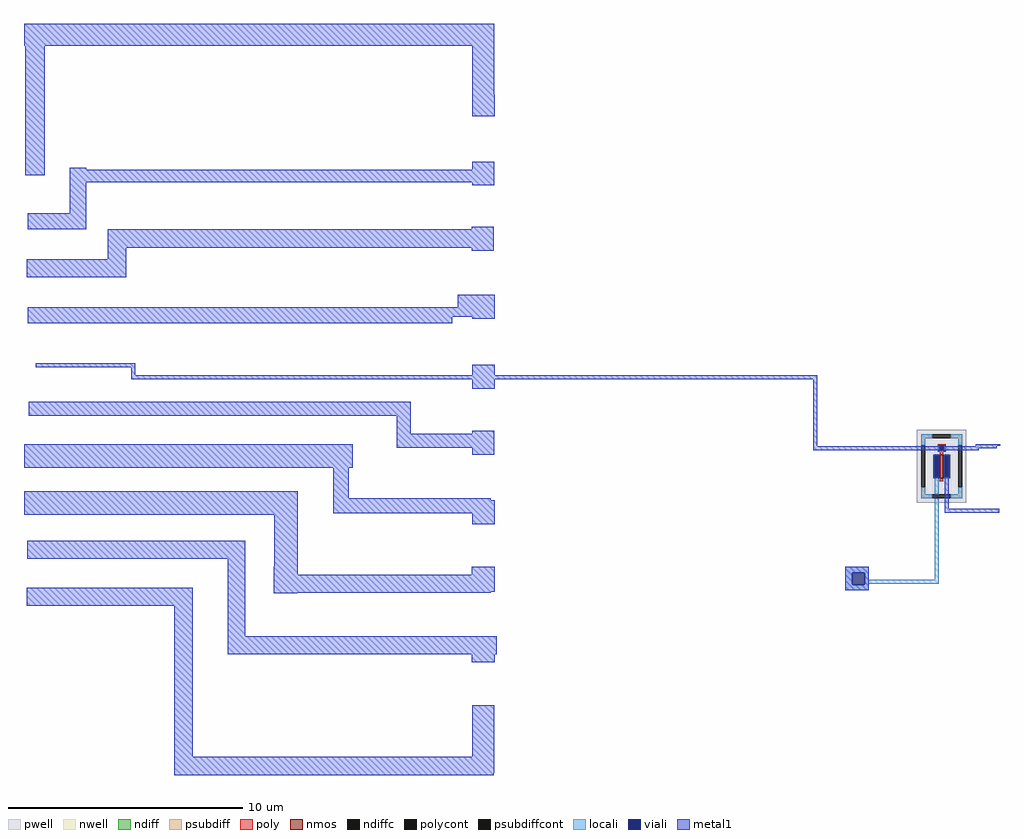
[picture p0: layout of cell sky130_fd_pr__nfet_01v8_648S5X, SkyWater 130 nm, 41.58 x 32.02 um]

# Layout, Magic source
magic
tech sky130A
magscale 1 2
<< nwell >>
rect 463 182 497 187
rect 309 173 497 182
rect 309 154 469 173
<< pwell >>
rect -211 -310 211 310
<< nmos >>
rect -15 -100 15 100
<< ndiff >>
rect -73 88 -15 100
rect -73 -88 -61 88
rect -27 -88 -15 88
rect -73 -100 -15 -88
rect 15 88 73 100
rect 15 -88 27 88
rect 61 -88 73 88
rect 15 -100 73 -88
<< ndiffc >>
rect -61 -88 -27 88
rect 27 -88 61 88
<< psubdiff >>
rect -175 240 -79 274
rect 79 240 175 274
rect -175 178 -141 240
rect 141 178 175 240
rect -175 -240 -141 -178
rect 141 -240 175 -178
rect -175 -274 -79 -240
rect 79 -274 175 -240
<< psubdiffcont >>
rect -79 240 79 274
rect -175 -178 -141 178
rect 141 -178 175 178
rect -79 -274 79 -240
<< poly >>
rect -33 172 33 188
rect -33 138 -17 172
rect 17 138 33 172
rect -33 122 33 138
rect -15 100 15 122
rect -15 -127 15 -100
<< polycont >>
rect -17 138 17 172
<< locali >>
rect -175 240 -79 274
rect 79 240 175 274
rect -175 178 -141 240
rect 141 178 175 240
rect -33 138 -17 172
rect 17 138 33 172
rect -175 -240 -141 -178
rect -61 88 -27 104
rect -61 -240 -27 -88
rect 27 88 61 104
rect 27 -104 61 -88
rect 141 -240 175 -178
rect -175 -274 -79 -240
rect 79 -274 175 -240
rect -823 -908 -622 -856
rect -823 -1008 -763 -908
rect -657 -966 -622 -908
rect -61 -966 -27 -274
rect -657 -1000 -27 -966
rect -657 -1008 -622 -1000
rect -823 -1058 -622 -1008
<< viali >>
rect -17 138 17 172
rect -61 -88 -27 88
rect 27 -88 61 88
rect -763 -1008 -657 -908
<< metal1 >>
rect -7819 3585 -3812 3771
rect -7810 2479 -7641 3585
rect -3998 3167 -3812 3585
rect -3998 2981 -3809 3167
rect -7430 2528 -7290 2544
rect -4000 2528 -3811 2595
rect -7430 2420 -3811 2528
rect -7430 2158 -7290 2420
rect -4000 2393 -3811 2420
rect -7788 2018 -7290 2158
rect -4005 2019 -3816 2039
rect -7105 1863 -3816 2019
rect -7105 1766 -6949 1863
rect -4005 1837 -3816 1863
rect -7796 1610 -6949 1766
rect -4123 1374 -3809 1461
rect -7786 1355 -6164 1356
rect -4124 1355 -3809 1374
rect -7786 1272 -3809 1355
rect -7786 1220 -4170 1272
rect -3998 1259 -3809 1272
rect -7720 844 -6872 878
rect -6906 774 -6872 844
rect -3999 774 -3810 864
rect -6906 740 -1062 774
rect -3999 662 -3810 740
rect -7777 429 -4525 548
rect -4644 276 -4525 429
rect -4001 276 -3812 301
rect -7818 -12 -5017 188
rect -4644 157 -3812 276
rect -4001 99 -3812 157
rect -1096 172 -1062 740
rect -29 172 29 178
rect 289 173 497 187
rect 289 172 469 173
rect -1096 138 -17 172
rect 17 154 469 172
rect 17 138 315 154
rect -29 132 29 138
rect -67 88 -21 100
rect -7818 -412 -5488 -212
rect -5182 -271 -5051 -12
rect -67 -88 -61 88
rect -27 -88 -21 88
rect -67 -100 -21 -88
rect 21 88 67 100
rect 21 -88 27 88
rect 61 -88 67 88
rect 21 -100 67 -88
rect -5182 -290 -3843 -271
rect -5182 -402 -3810 -290
rect 26 -360 60 -100
rect 26 -394 492 -360
rect -7793 -787 -5933 -636
rect -7796 -1190 -6380 -1033
rect -6537 -2476 -6380 -1190
rect -6084 -1449 -5933 -787
rect -5688 -855 -5488 -412
rect -3999 -492 -3810 -402
rect -5690 -899 -5488 -855
rect -5690 -925 -5487 -899
rect -4003 -925 -3809 -857
rect -5690 -945 -3809 -925
rect -823 -908 -622 -856
rect -5690 -1071 -3810 -945
rect -823 -1008 -763 -908
rect -657 -1008 -622 -908
rect -823 -1058 -622 -1008
rect -5690 -1079 -3841 -1071
rect -5690 -1080 -5491 -1079
rect -6084 -1600 -3792 -1449
rect -4002 -1669 -3808 -1600
rect -4001 -2476 -3812 -2036
rect -6537 -2613 -3812 -2476
rect -6537 -2633 -3815 -2613
<< properties >>
string FIXED_BBOX -158 -257 158 257
string gencell sky130_fd_pr__nfet_01v8
string library sky130
string parameters w 1.0 l 0.15 m 1 nf 1 diffcov 100 polycov 100 guard 1 glc 1 grc 1 gtc 1 gbc 1 tbcov 100 rlcov 100 topc 1 botc 1 poverlap 0 doverlap 1 lmin 0.15 wmin 0.42 compatible {sky130_fd_pr__nfet_01v8 sky130_fd_pr__nfet_01v8_lvt  sky130_fd_bs_flash__special_sonosfet_star  sky130_fd_pr__nfet_g5v0d10v5 sky130_fd_pr__nfet_05v0_nvt  sky130_fd_pr__nfet_03v3_nvt} full_metal 1 viasrc 100 viadrn 100 viagate 100 viagb 0 viagr 0 viagl 0 viagt 0
<< end >>
